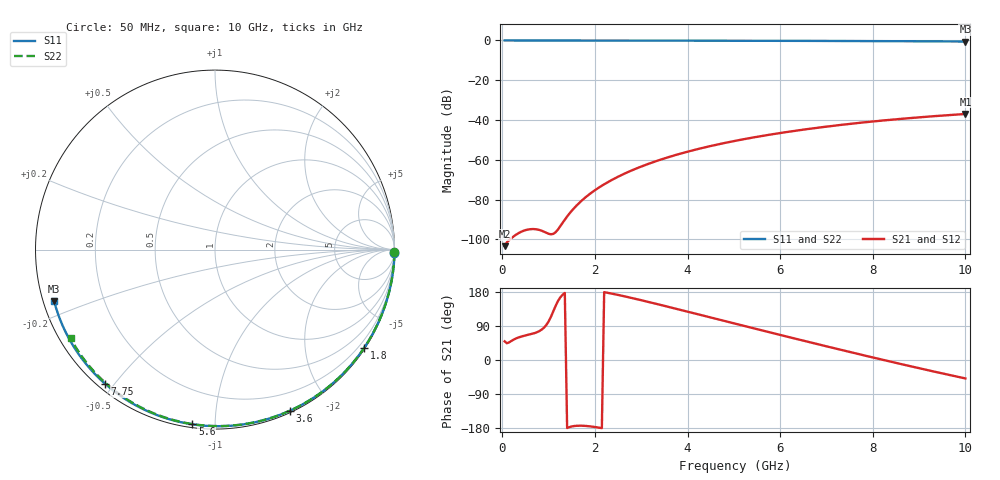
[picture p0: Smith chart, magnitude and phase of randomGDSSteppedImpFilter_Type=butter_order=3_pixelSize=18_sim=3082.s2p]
! freq	dB(S11)	phase(S11)	dB(S12)	phase(S12)
!  dB(S21)	phase(S21)	dB(S22)	phase(S22)
!S-par simulation data
#  GHz  S  DB  R 50
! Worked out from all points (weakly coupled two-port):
!   200 points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, 50 MHz to 10 GHz, reference 50 ohm
!   highest |S21| = -36.98 dB at 10 GHz (marker M1); lowest = -103.4 dB at 50 MHz (marker M2)
!   lowest |S11| = -0.5 dB at 10 GHz (marker M3), VSWR 33.03, Z = 1.55 - j7.79 ohm
!   |S11| at or under -10 dB: nowhere
!   |S22| runs from -0.5 to 0.0 dB; largest |S21 - S12| = 0
!   S11 on the Smith chart (normalised r, x): 50 MHz: open; 1.8 GHz: 0.03, -3.32; 3.6 GHz: 0.02, -1.56; 5.6 GHz: 0.02, -0.88; 7.75 GHz: 0.02, -0.47; 10 GHz: 0.03, -0.16
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0.05  -0.00 -1.0  -103.44 49.2  -103.44 49.2  -0.00 -0.9
0.45  -0.01 -8.5  -95.79 63.2  -95.79 63.2  -0.01 -7.8
0.85  -0.02 -16.0  -95.67 80.1  -95.67 80.1  -0.02 -14.6
1.25  -0.03 -23.5  -93.50 164.8  -93.50 164.8  -0.03 -21.3
1.7  -0.04 -31.7  -80.84 -173.4  -80.84 -173.4  -0.04 -28.9
1.75  -0.04 -32.6  -79.81 -173.6  -79.81 -173.6  -0.04 -29.7
1.8  -0.04 -33.5  -78.83 -174.0  -78.83 -174.0  -0.04 -30.5
2.1  -0.05 -39.0  -73.76 -178.8  -73.76 -178.8  -0.05 -35.5
2.3  -0.05 -42.6  -70.97 176.8  -70.97 176.8  -0.05 -38.8
2.5  -0.06 -46.1  -68.52 171.7  -68.52 171.7  -0.05 -42.0
2.9  -0.07 -53.2  -64.33 160.7  -64.33 160.7  -0.06 -48.5
3.4  -0.08 -61.8  -60.07 145.9  -60.07 145.9  -0.07 -56.4
3.6  -0.09 -65.2  -58.60 139.9  -58.60 139.9  -0.08 -59.5
4.3  -0.11 -76.8  -54.17 118.3  -54.17 118.3  -0.10 -70.3
5.05  -0.14 -88.8  -50.38 95.2  -50.38 95.2  -0.12 -81.4
5.6  -0.16 -97.4  -48.05 78.3  -48.05 78.3  -0.15 -89.3
6.15  -0.19 -105.8  -46.02 61.6  -46.02 61.6  -0.17 -97.1
6.7  -0.22 -114.0  -44.22 45.0  -44.22 45.0  -0.20 -104.7
7.75  -0.30 -129.3  -41.34 14.0  -41.34 14.0  -0.27 -118.9
8.35  -0.35 -138.0  -39.96 -3.3  -39.96 -3.3  -0.32 -126.8
9.2  -0.43 -150.4  -38.30 -27.2  -38.30 -27.2  -0.41 -137.9
10  -0.53 -162.3  -36.98 -48.7  -36.98 -48.7  -0.50 -148.4
